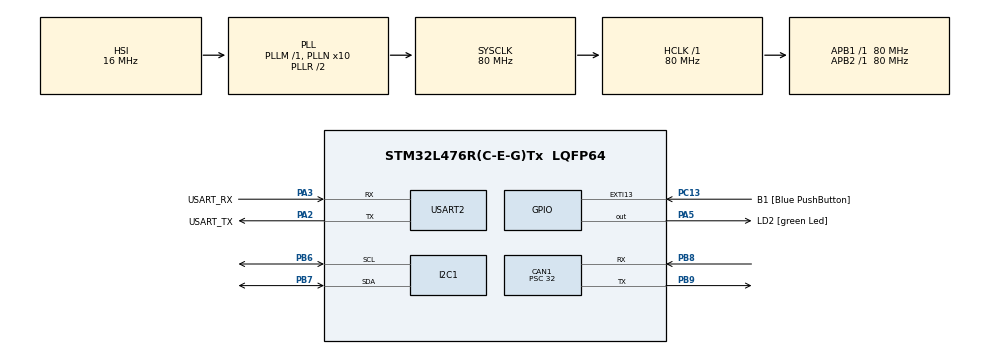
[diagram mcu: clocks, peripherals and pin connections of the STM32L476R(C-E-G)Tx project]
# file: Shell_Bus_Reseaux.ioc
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CAN1.BS1=CAN_BS1_3TQ
CAN1.CalculateBaudRate=500000
CAN1.CalculateTimeBit=2000.00
CAN1.CalculateTimeQuantum=400.0
CAN1.Prescaler=32
FREERTOS.Tasks01=defaultTask,0,128,StartDefaultTask,Default,NULL,Dynamic,NULL,NULL
I2C1.Timing=0x10909CEC
Mcu.Family=STM32L4
Mcu.Name=STM32L476R(C-E-G)Tx
Mcu.Package=LQFP64
NVIC.I2C1_ER_IRQn=true\:5\:0\:false\:false\:true\:true\:true\:true
NVIC.I2C1_EV_IRQn=true\:5\:0\:false\:false\:true\:true\:true\:true
NVIC.PriorityGroup=NVIC_PRIORITYGROUP_4
NVIC.USART2_IRQn=true\:5\:0\:false\:false\:true\:true\:true\:true
PA13\ (JTMS-SWDIO).Mode=Serial_Wire
PA13\ (JTMS-SWDIO).Signal=SYS_JTMS-SWDIO
PA14\ (JTCK-SWCLK).GPIO_Label=TCK
PA14\ (JTCK-SWCLK).Mode=Serial_Wire
PA14\ (JTCK-SWCLK).Signal=SYS_JTCK-SWCLK
PA2.GPIO_Label=USART_TX
PA2.GPIO_Mode=GPIO_MODE_AF_PP
PA2.GPIO_PuPd=GPIO_NOPULL
PA2.GPIO_Speed=GPIO_SPEED_FREQ_VERY_HIGH
PA2.Mode=Asynchronous
PA2.Signal=USART2_TX
PA3.GPIO_Label=USART_RX
PA3.GPIO_Mode=GPIO_MODE_AF_PP
PA3.GPIO_PuPd=GPIO_NOPULL
PA3.GPIO_Speed=GPIO_SPEED_FREQ_VERY_HIGH
PA3.Mode=Asynchronous
PA3.Signal=USART2_RX
PA5.GPIO_Label=LD2 [green Led]
PA5.GPIO_ModeDefaultOutputPP=GPIO_MODE_OUTPUT_PP
PA5.GPIO_PuPd=GPIO_NOPULL
PA5.GPIO_Speed=GPIO_SPEED_FREQ_LOW
PA5.Signal=GPIO_Output
PB3\ (JTDO-TRACESWO).GPIO_Label=SWO
PB3\ (JTDO-TRACESWO).Signal=SYS_JTDO-SWO
PB6.Mode=I2C
PB6.Signal=I2C1_SCL
PB7.Mode=I2C
PB7.Signal=I2C1_SDA
PB8.Mode=CAN_Activate
PB8.Signal=CAN1_RX
PB9.Mode=CAN_Activate
PB9.Signal=CAN1_TX
PC13.GPIO_Label=B1 [Blue PushButton]
PC13.GPIO_ModeDefaultEXTI=GPIO_MODE_IT_FALLING
PC13.GPIO_PuPd=GPIO_NOPULL
PC13.Signal=GPXTI13
PC14-OSC32_IN\ (PC14).Mode=LSE-External-Oscillator
PC14-OSC32_IN\ (PC14).Signal=RCC_OSC32_IN
PC15-OSC32_OUT\ (PC15).Mode=LSE-External-Oscillator
PC15-OSC32_OUT\ (PC15).Signal=RCC_OSC32_OUT
PH0-OSC_IN\ (PH0).Signal=RCC_OSC_IN
PH1-OSC_OUT\ (PH1).Signal=RCC_OSC_OUT
ProjectManager.HeapSize=0x200
ProjectManager.StackSize=0x400
ProjectManager.TargetToolchain=STM32CubeIDE
RCC.ADCFreq_Value=64000000
RCC.AHBFreq_Value=80000000
RCC.APB1Freq_Value=80000000
RCC.APB1TimFreq_Value=80000000
RCC.APB2Freq_Value=80000000
RCC.APB2TimFreq_Value=80000000
RCC.CortexFreq_Value=80000000
RCC.HCLKFreq_Value=80000000
RCC.HSE_VALUE=8000000
RCC.HSI_VALUE=16000000
RCC.MSI_VALUE=4000000
RCC.PLLN=10
RCC.PLLSourceVirtual=RCC_PLLSOURCE_HSI
RCC.PREFETCH_ENABLE=1
RCC.SYSCLKFreq_VALUE=80000000
RCC.SYSCLKSource=RCC_SYSCLKSOURCE_PLLCLK
RCC.USBFreq_Value=64000000
RCC.VCOOutputFreq_Value=160000000
USART2.VirtualMode-Asynchronous=VM_ASYNC
VP_FREERTOS_VS_CMSIS_V1.Mode=CMSIS_V1
board=NUCLEO-L476RG

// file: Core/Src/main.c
/* USER CODE BEGIN Header */
/**
 ******************************************************************************
 * @file           : main.c
 * @brief          : Main program body
 ******************************************************************************
 * @attention
 *
 * <h2><center>&copy; Copyright (c) 2020 STMicroelectronics.
 * All rights reserved.</center></h2>
 *
 * This software component is licensed by ST under BSD 3-Clause license,
 * the "License"; You may not use this file except in compliance with the
 * License. You may obtain a copy of the License at:
 *                        opensource.org/licenses/BSD-3-Clause
 *
 ******************************************************************************
 */
/* USER CODE END Header */
#include "main.h"
#include "cmsis_os.h"
#include "can.h"
#include "i2c.h"
#include "usart.h"
#include "gpio.h"

/* USER CODE BEGIN Includes */
#include <stdio.h>
#include <stdlib.h>
#include "shell.h"
#include "BMP280_simple.h"
/* USER CODE END Includes */

/* USER CODE BEGIN PV */
#define STACK_SIZE 500
#define TAB_SIZE 10
TaskHandle_t xHandleT = NULL;
TaskHandle_t xHandleP = NULL;
TaskHandle_t xHandleC = NULL;

int val[TAB_SIZE][2];
int val_cpt = 0;

int it_uart = 0;
int it_uart4 = 0;
int cpt = 0;
uint8_t uart_rx_buffer[64];
uint8_t uart_tx_buffer[64];
uint8_t uart4_rx_buffer[64];
uint8_t uart4_tx_buffer[64];
uint8_t uart4_rx2_buffer[64];

uint8_t i2c_t_buffer[1] = {0xD0} ;
uint8_t i2c_r_buffer[1];
uint8_t i2c_t_conf_buffer[2] = {0xF4, 0x57} ;
uint8_t i2c_t_calibration_buffer[1]={0x88}; /*creating buffer to get calibration values with I2C HAL functions*/
uint8_t i2c_r_conf_buffer[1];
uint8_t i2c_t_data_buffer[1]= {0xF7};
uint8_t i2c_r_data_buffer[6];

uint32_t pres, temp;
uint8_t pres_val[64], temp_val[64];
uint32_t p;
uint32_t t,t_comp;
/* USER CODE END PV */

void SystemClock_Config(void);
void MX_FREERTOS_Init(void);

/* USER CODE BEGIN 0 */
//buffer communication CAN
uint8_t message[2]={0x54,0x01};
uint8_t zero[2]={0x54,0x00};
uint32_t mail;
//buffer communication I2C
uint8_t buff_temp;
uint8_t buff_press;

int calcul(){
	if (val_cpt<TAB_SIZE){
		temp = BMP280_get_temperature();
		pres = BMP280_get_pressure();

		val[val_cpt][0] = pres;
		val[val_cpt][1] = temp;
		val_cpt++;
	} else {
		printf("Tableau plein, voici le tableau dans son int\351gralit\351. \r\n");
		printf("Pres1 = %x, Pres2 = %x, Pres3 = %x, Pres4 = %x, Pres5 = %x, Pres6 = %x, Pres7 = %x, Pres8 = %x, Pres9 = %x, Pres10 = %x \r\n",
				val[0][0], val[1][0], val[2][0], val[3][0], val[4][0], val[5][0], val[6][0], val[7][0], val[8][0], val[9][0]);
		printf("Temp1 = %x, Temp2 = %x, Temp3 = %x, Temp4 = %x, Temp5 = %x, Temp6 = %x, Temp7 = %x, Temp8 = %x, Temp9 = %x, Temp10 = %x \r\n",
				val[0][1], val[1][1], val[2][1], val[3][1], val[4][1], val[5][1], val[6][1], val[7][1], val[8][1], val[9][1]);
		printf("Tableau r\351initialis\351... \r\n");
		val_cpt = 0;
		temp = BMP280_get_temperature();
		pres = BMP280_get_pressure();

		pres = 3;
		temp = 5;
		val[val_cpt][0] = pres;
		val[val_cpt][1] = temp;
		val_cpt++;
	}

	return 0;
}

int get_pres(int argc, char ** argv) {
	if(argc==2){
		if(strncmp("all", argv[1], 1)==0){
			for(int k=0; k<val_cpt; k++){
				//printf("all\r\n");
				printf("Pres%d = %x \r\n",k+1, val[k][0]);
			}
		}
		if(strncmp("now", argv[1], 1)==0){
			int c = calcul();
			//printf("P=\r\n");
			printf("P = 0X%05lX \r\n", val[val_cpt-1][0]);
		}
	}
	else{
		printf("Erreur: nombre d'arguments incorrect\r\n");
		printf("Usage : %s <'now' pour avoir la valeur du moment ou 'all' pour avoir toutes les valeurs>\r\n", argv[0]);
	}
	return 0;
}

int get_temp(int argc, char ** argv) {
	if(argc==2){
		if(strncmp("all", argv[1], 1)==0){
			for(int k=0; k<val_cpt; k++){
				//printf("all\r\n");
				printf("Temp%d = %x \r\n",k+1, val[k][0]);
			}
		}
		if(strncmp("now", argv[1], 1)==0){
			int c = calcul();
			//printf("P=\r\n");
			printf("T =0X%05lX \r\n", val[val_cpt-1][0]);
		}
	}
	else{
		printf("Erreur: nombre d'arguments incorrect\r\n");
		printf("Usage : %s <'now' pour avoir la valeur du moment ou 'all' pour avoir toutes les valeurs>\r\n", argv[0]);
	}
	return 0;
}

void vTaskCAN(void * p){

	vTaskDelete(NULL);
}

int thermo(int argc, char ** argv){
	//xTaskCreate(vTaskCAN, "", STACK_SIZE, (void *) NULL, 1, xHandleC);

	//configuring CAN
	HAL_CAN_Start (&hcan1);
	CAN_TxHeaderTypeDef TxHeader;
	TxHeader.StdId=0x61;
	TxHeader.IDE=CAN_ID_STD;
	TxHeader.RTR=CAN_RTR_DATA;
	TxHeader.DLC=2;
	TxHeader.TransmitGlobalTime=DISABLE;

	//Setting motor to zero
	HAL_CAN_AddTxMessage(&hcan1, &TxHeader, (uint8_t*) {0x00,0x00} , &mail);
	HAL_Delay(100);

	for(int l=0; l<10; l++){
		//printf("test\r\n");
		HAL_CAN_AddTxMessage(&hcan1, &TxHeader, message, &mail);
		//Send_CAN_Message(message,&hcan1,pHeader,mail);
		//to code with tasks
		HAL_Delay(1000);
		HAL_CAN_AddTxMessage(&hcan1, &TxHeader, zero, &mail);
		HAL_Delay(1000);
	}
	return 0;
}

int rasp(int argc, char ** argv){

	printf("Nous avons malheureusement eu beaucoup de mal avec le code Python de la Raspberry. \r\n");
	printf("Nous avons r\351ussi \340 faire une page web simple avec la Raspberry et nous avons \351galement \351crit un code python pour le protocole de commande. \r\n");
	printf("Notre probl\350me a \351t\351 de cr\351er une page web adapt\351e au sujet de TP (cr\351er toutes les fonctions demand\351es) et aussi de relier les codes pythons avec nos codes C de la STM. \r\n");
	printf("Nous avons alors pr\351f\351r\351 rendre un shell sur la STM, m\352me si cela implique un fonctionnement sans Raspberry.\r\n");
	printf("Gr\342ce \340 ce shell, vous pourrez faire des demandes de temp\351rature et de pressions et lancer le moteur pour 10 cycles.\r\n");
	printf("Vous trouverez tout de m\352me nos scripts python dans le git.\r\n");

	return 0;
}

void vTaskShell(void * p) {
	shell_init();
	shell_add('E', rasp, "*Ce qu'on aurait aim\351 faire avec la Raspberry* \r\n -->Commande : <E> \r\n -->Sortie : ce qu'on aurait aim\351 faire et explications sur pourquoi nous ne l'avons pas fait. \r\n");
	shell_add('T', get_temp, "*Renvoie la temp\351rature* \r\n -->Commande : <T> <'now' pour une temp\351rature ou 'all' pour avoir toutes les temp\351rature> \r\n -->Sortie : La ou les valeur(s) de temp\351rature demand\351e(s).\r\n");
	shell_add('P', get_pres, "*Renvoie la pression* \r\n -->Commande : <P> <'now' pour une pression ou 'all' pour avoir toutes les pressions> \r\n -->Sortie : La ou les valeur(s) de pression demand\351e(s).\r\n");
	shell_add('M', thermo, "*Lance le moteur* \r\n -->Commande : <M> \r\n -->Sortie : le moteur se met \340 tourner. \r\n");

	shell_run();
}
/* USER CODE END 0 */

int main(void)
{
	/* USER CODE BEGIN 1 */
	BaseType_t xReturned;
	TaskHandle_t xHandle = NULL;

	/* USER CODE END 1 */

	/* MCU Configuration--------------------------------------------------------*/

	/* Reset of all peripherals, Initializes the Flash interface and the Systick. */
	HAL_Init();

	/* Configure the system clock */
	SystemClock_Config();

	/* Initialize all configured peripherals */
	MX_GPIO_Init();
	MX_USART2_UART_Init();
	MX_CAN1_Init();
	MX_I2C1_Init();
	/* USER CODE BEGIN 2 */

	printf("\r\nChecking for BMP280\r\n");
	BMP280_check();
	printf("\r\nConfigure BMP280\r\n");
	BMP280_init();

	//Création du shell
	xReturned = xTaskCreate(
			vTaskShell,      	/* Function that implements the task. */
			"Shell",         	/* Text name for the task. */
			STACK_SIZE,      	/* Stack size in words, not bytes. */
			( void * ) NULL,    /* Parameter passed into the task. */
			1,					/* Priority at which the task is created. */
			&xHandle );      	/* Used to pass out the created task's handle. */

	if( xReturned == errCOULD_NOT_ALLOCATE_REQUIRED_MEMORY ) {
		printf("Task Shell creation error: Could not allocate required memory\r\n");
	}
	/* USER CODE END 2 */

	/* Call init function for freertos objects (in freertos.c) */
	MX_FREERTOS_Init();
	/* Start scheduler */
	osKernelStart();

	/* We should never get here as control is now taken by the scheduler */
	/* Infinite loop */
	while (1)
	{

	}
}

void SystemClock_Config(void)
{
	RCC_OscInitTypeDef RCC_OscInitStruct = {0};
	RCC_ClkInitTypeDef RCC_ClkInitStruct = {0};

	/** Configure the main internal regulator output voltage
	 */
	if (HAL_PWREx_ControlVoltageScaling(PWR_REGULATOR_VOLTAGE_SCALE1) != HAL_OK)
	{
		Error_Handler();
	}
	/** Initializes the RCC Oscillators according to the specified parameters
	 * in the RCC_OscInitTypeDef structure.
	 */
	RCC_OscInitStruct.OscillatorType = RCC_OSCILLATORTYPE_HSI;
	RCC_OscInitStruct.HSIState = RCC_HSI_ON;
	RCC_OscInitStruct.HSICalibrationValue = RCC_HSICALIBRATION_DEFAULT;
	RCC_OscInitStruct.PLL.PLLState = RCC_PLL_ON;
	RCC_OscInitStruct.PLL.PLLSource = RCC_PLLSOURCE_HSI;
	RCC_OscInitStruct.PLL.PLLM = 1;
	RCC_OscInitStruct.PLL.PLLN = 10;
	RCC_OscInitStruct.PLL.PLLP = RCC_PLLP_DIV7;
	RCC_OscInitStruct.PLL.PLLQ = RCC_PLLQ_DIV2;
	RCC_OscInitStruct.PLL.PLLR = RCC_PLLR_DIV2;
	if (HAL_RCC_OscConfig(&RCC_OscInitStruct) != HAL_OK)
	{
		Error_Handler();
	}
	/** Initializes the CPU, AHB and APB buses clocks
	 */
	RCC_ClkInitStruct.ClockType = RCC_CLOCKTYPE_HCLK|RCC_CLOCKTYPE_SYSCLK
			|RCC_CLOCKTYPE_PCLK1|RCC_CLOCKTYPE_PCLK2;
	RCC_ClkInitStruct.SYSCLKSource = RCC_SYSCLKSOURCE_PLLCLK;
	RCC_ClkInitStruct.AHBCLKDivider = RCC_SYSCLK_DIV1;
	RCC_ClkInitStruct.APB1CLKDivider = RCC_HCLK_DIV1;
	RCC_ClkInitStruct.APB2CLKDivider = RCC_HCLK_DIV1;

	if (HAL_RCC_ClockConfig(&RCC_ClkInitStruct, FLASH_LATENCY_4) != HAL_OK)
	{
		Error_Handler();
	}
}

void Error_Handler(void)
{
}

/************************ (C) COPYRIGHT STMicroelectronics *****END OF FILE****/
